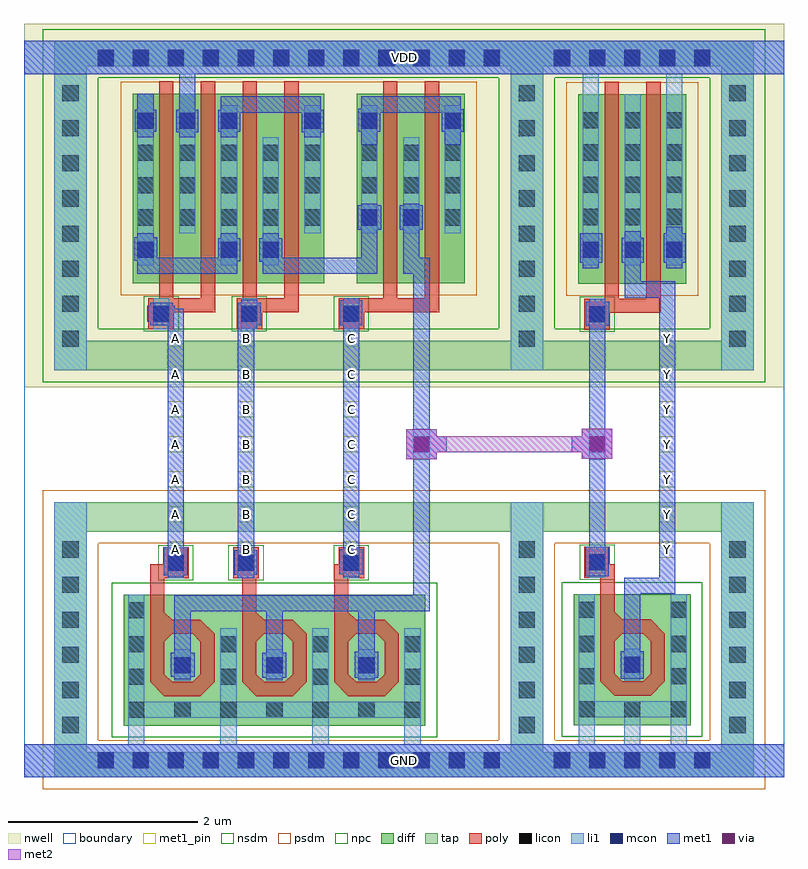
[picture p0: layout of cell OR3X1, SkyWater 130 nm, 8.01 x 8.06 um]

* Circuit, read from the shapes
.subckt OR3X1 A B C GND VDD Y
XM1 GND A n1 GND sky130_fd_pr__nfet_01v8 w=2.56 l=0.1459
XM2 GND B n1 GND sky130_fd_pr__nfet_01v8 w=2.56 l=0.1483
XM3 GND C n1 GND sky130_fd_pr__nfet_01v8 w=2.56 l=0.1456
XM4 GND n1 Y GND sky130_fd_pr__nfet_01v8 w=2.56 l=0.1514
XM5 VDD A n2 VDD sky130_fd_pr__pfet_01v8 w=2 l=0.15 m=2
XM6 n3 B n2 VDD sky130_fd_pr__pfet_01v8 w=2 l=0.15 m=2
XM7 n1 C n3 VDD sky130_fd_pr__pfet_01v8 w=2 l=0.15 m=2
XM8 Y n1 VDD VDD sky130_fd_pr__pfet_01v8 w=2 l=0.15 m=2
.ends

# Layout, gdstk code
from math import pi, radians
import gdstk
lib = gdstk.Library(unit=1e-6, precision=1e-09)
def R(c, l, rs):  # rectangles x0, y0, x1, y1
    for r in rs: c.add(gdstk.rectangle(r[:2], r[2:], *l))
def A(c, l, x, y, w, h, nx, ny, dx, dy):  # array of equal rectangles
    R(c, l, [(x+i*dx, y+j*dy, x+i*dx+w, y+j*dy+h) for i in range(nx) for j in range(ny)])
def P(c, l, *ps):  # polygons
    for p in ps: c.add(gdstk.Polygon(p, *l))
nwell = (64, 20)
diff = (65, 20)
tap = (65, 44)
poly = (66, 20)
licon = (66, 44)
li1 = (67, 20)
mcon = (67, 44)
met1_pin = (68, 16)
met1 = (68, 20)
via = (68, 44)
met2 = (69, 20)
nsdm = (93, 44)
psdm = (94, 20)
npc = (95, 20)
boundary = (235, 4)

diff_ring_side = lib.new_cell('diff_ring_side')
R(diff_ring_side, nwell, [(-0.435,3.93,0.435,7.75)])
R(diff_ring_side, tap, [(-0.17,-0.17,0.17,2.72), (-0.17,4.11,0.17,7.57)])
A(diff_ring_side, licon, -0.085, 0.285, 0.17, 0.17, 1, 6, 0, 0.37)
A(diff_ring_side, licon, -0.085, 4.355, 0.17, 0.17, 1, 8, 0, 0.37)
R(diff_ring_side, li1, [(-0.17,-0.17,0.17,2.72), (-0.17,4.11,0.17,7.57)])
R(diff_ring_side, met1, [(-0.17,-0.17,0.17,0.17), (-0.17,7.23,0.17,7.57)])
R(diff_ring_side, nsdm, [(-0.295,3.985,0.295,7.695)])
R(diff_ring_side, psdm, [(-0.295,-0.295,0.295,2.845)])

nmos_top_trim1 = lib.new_cell('nmos_top_trim1')
R(nmos_top_trim1, diff, [(0,0,1.24,1.38)])
R(nmos_top_trim1, poly, [(0.43,0.31,0.81,0.46), (0.28,0.46,0.43,0.965), (0.81,0.46,0.96,0.965), (0.43,0.965,0.96,1.115), (0.81,1.115,0.96,1.545)])
P(nmos_top_trim1, poly, [(0.73,1.115),(0.81,1.115),(0.81,1.195)],
  [(0.28,0.965),(0.43,0.965),(0.43,1.115)],
  [(0.43,0.885),(0.43,0.965),(0.51,0.965)],
  [(0.73,0.965),(0.81,0.965),(0.81,0.885)],
  [(0.43,0.54),(0.43,0.46),(0.51,0.46)],
  [(0.73,0.46),(0.81,0.46),(0.81,0.54)],
  [(0.28,0.46),(0.43,0.46),(0.43,0.31)],
  [(0.81,0.31),(0.81,0.46),(0.96,0.46)])
A(nmos_top_trim1, licon, 0.05, 0.08, 0.17, 0.17, 3, 1, 0.485, 0)
R(nmos_top_trim1, licon, [(0.05,0.43,0.22,0.6), (1.02,0.43,1.19,0.6), (0.535,0.55,0.705,0.72), (0.05,0.77,0.22,0.94), (1.02,0.77,1.19,0.94), (1.02,1.13,1.19,1.3)])
R(nmos_top_trim1, li1, [(0.05,0,0.22,0.08), (1.02,0,1.19,0.08), (0.05,0.08,1.19,0.25), (0.05,0.25,0.22,1.02), (1.02,0.25,1.19,1.38), (0.535,0.47,0.705,0.805)])
R(nmos_top_trim1, nsdm, [(-0.125,-0.125,1.365,1.505)])

pmos2_1 = lib.new_cell('pmos2_1')
R(pmos2_1, nwell, [(0.26,-2.175,1.76,0.185)])
R(pmos2_1, diff, [(0.44,-1.995,1.58,0.005)])
R(pmos2_1, poly, [(0.72,-2.3,1.31,-2.15), (0.72,-2.15,0.87,0.135), (1.16,-2.15,1.31,0.135)])
A(pmos2_1, licon, 0.49, -1.385, 0.17, 0.17, 3, 3, 0.44, 0.34)
A(pmos2_1, li1, 0.49, -1.465, 0.17, 1.01, 3, 1, 0.44, 0)
R(pmos2_1, psdm, [(0.315,-2.12,1.705,0.13)])

poly_li1_contact = lib.new_cell('poly_li1_contact')
R(poly_li1_contact, poly, [(-0.16,-0.14,0.17,0.13)])
R(poly_li1_contact, licon, [(-0.08,-0.09,0.09,0.08)])
R(poly_li1_contact, li1, [(-0.16,-0.09,0.17,0.08)])
R(poly_li1_contact, npc, [(-0.18,-0.19,0.19,0.18)])

nmos_top_trim2 = lib.new_cell('nmos_top_trim2')
R(nmos_top_trim2, diff, [(0,0,1.24,1.38)])
R(nmos_top_trim2, poly, [(0.43,0.31,0.81,0.46), (0.28,0.46,0.43,0.89), (0.81,0.46,0.96,0.89), (0.28,0.89,0.435,0.965), (0.805,0.89,0.96,0.965), (0.43,0.965,0.96,1.115), (0.81,1.115,0.96,1.545)])
P(nmos_top_trim2, poly, [(0.73,1.115),(0.81,1.115),(0.81,1.195)],
  [(0.28,0.965),(0.43,0.965),(0.43,1.115)],
  [(0.435,0.89),(0.435,0.965),(0.51,0.965)],
  [(0.73,0.965),(0.805,0.965),(0.805,0.89)],
  [(0.43,0.54),(0.43,0.46),(0.51,0.46)],
  [(0.73,0.46),(0.81,0.46),(0.81,0.54)],
  [(0.28,0.46),(0.43,0.46),(0.43,0.31)],
  [(0.81,0.31),(0.81,0.46),(0.96,0.46)])
A(nmos_top_trim2, licon, 0.05, 0.08, 0.17, 0.17, 3, 1, 0.485, 0)
R(nmos_top_trim2, licon, [(0.05,0.43,0.22,0.6), (1.02,0.43,1.19,0.6), (0.535,0.55,0.705,0.72), (0.05,0.77,0.22,0.94), (1.02,0.77,1.19,0.94)])
R(nmos_top_trim2, li1, [(0.05,0,0.22,0.08), (1.02,0,1.19,0.08), (0.05,0.08,1.19,0.25), (0.05,0.25,0.22,1.025), (1.02,0.25,1.19,1.025), (0.535,0.47,0.705,0.805)])
R(nmos_top_trim2, nsdm, [(-0.125,-0.125,1.365,1.505)])

nor3x1_pcell = lib.new_cell('nor3x1_pcell')
R(nor3x1_pcell, nwell, [(0.435,3.93,4.765,7.75)])
A(nor3x1_pcell, diff, 0.705, 6.655, 0.17, 0.17, 3, 1, 0.44, 0)
R(nor3x1_pcell, diff, [(0.705,5.295,0.875,5.465), (1.585,5.295,1.755,5.465), (2.025,5.295,2.195,5.465), (2.465,6.655,2.635,6.825), (3.065,6.655,3.235,6.825), (3.945,6.655,4.115,6.825)])
R(nor3x1_pcell, tap, [(0.17,-0.17,4.64,0.085), (0.17,2.41,4.64,2.72), (0.17,4.11,4.64,4.42), (0.17,7.315,4.64,7.57)])
R(nor3x1_pcell, poly, [(0.84,1.875,0.99,2.065), (1.81,1.91,1.96,1.915), (2.78,1.91,2.93,2.065), (3.095,4.72,3.295,4.87)])
A(nor3x1_pcell, licon, 0.285, -0.085, 0.17, 0.17, 12, 2, 0.37, 7.4)
A(nor3x1_pcell, licon, 0.705, 6.655, 0.17, 0.17, 3, 1, 0.44, 0)
R(nor3x1_pcell, licon, [(0.705,5.295,0.875,5.465), (1.585,5.295,1.755,5.465), (2.025,5.295,2.195,5.465), (2.465,6.655,2.635,6.825), (3.065,6.655,3.235,6.825), (3.945,6.655,4.115,6.825)])
A(nor3x1_pcell, li1, 1.095, 0.915, 0.17, 0.17, 3, 1, 0.97, 0)
R(nor3x1_pcell, li1, [(-0.17,-0.17,4.655,0.17), (0.61,0.17,0.78,0.445), (1.58,0.17,1.75,0.445), (2.55,0.17,2.72,0.45), (3.52,0.17,3.69,0.45), (1.025,1.995,1.195,2.165), (1.765,1.995,1.935,2.165), (2.875,1.995,3.045,2.165), (0.87,4.62,1.04,4.79), (1.8,4.62,1.97,4.79), (2.875,4.62,3.045,4.79), (0.705,5.215,0.875,5.975), (1.585,5.215,1.755,5.975), (2.025,5.215,2.195,5.975), (3.065,5.635,3.235,5.805), (3.505,5.635,3.675,5.805), (1.145,6.145,1.315,7.025), (1.585,6.145,1.755,6.905), (2.465,6.145,2.635,6.905), (3.065,6.145,3.235,6.905), (3.945,6.145,4.115,6.905), (0.705,6.525,0.875,7.025), (-0.12,7.23,4.695,7.57)])
A(nor3x1_pcell, mcon, 0.285, -0.085, 0.17, 0.17, 12, 2, 0.37, 7.4)
A(nor3x1_pcell, mcon, 1.095, 0.915, 0.17, 0.17, 3, 1, 0.97, 0)
A(nor3x1_pcell, mcon, 0.705, 6.655, 0.17, 0.17, 3, 1, 0.44, 0)
R(nor3x1_pcell, mcon, [(1.025,1.995,1.195,2.165), (1.765,1.995,1.935,2.165), (2.875,1.995,3.045,2.165), (0.87,4.62,1.04,4.79), (1.8,4.62,1.97,4.79), (2.875,4.62,3.045,4.79), (0.705,5.295,0.875,5.465), (1.585,5.295,1.755,5.465), (2.025,5.295,2.195,5.465), (3.065,5.635,3.235,5.805), (3.505,5.635,3.675,5.805), (2.465,6.655,2.635,6.825), (3.065,6.655,3.235,6.825), (3.945,6.655,4.115,6.825)])
R(nor3x1_pcell, met1, [(0.17,-0.17,4.64,0.17), (1.095,0.855,1.265,0.88), (2.065,0.855,2.235,0.87), (3.035,0.855,3.205,0.87), (2.02,0.87,2.275,1.13), (2.995,0.87,3.245,1.145), (1.055,0.88,1.31,1.13), (1.095,1.13,1.265,1.57), (2.065,1.13,2.235,1.57), (3.035,1.145,3.205,1.57), (1.095,1.57,3.785,1.74), (3.615,1.74,3.785,5.125), (1.765,1.915,1.935,1.955), (1.025,1.935,1.195,1.95), (2.875,1.935,3.045,1.96), (0.985,1.95,1.235,2.245), (1.725,1.955,1.97,2.21), (2.835,1.96,3.08,2.225), (1.765,2.21,1.935,4.56), (2.875,2.225,3.045,4.585), (1.025,2.245,1.195,4.585), (1.765,4.56,1.97,4.585), (0.84,4.585,1.195,4.62), (1.765,4.585,2.005,4.82), (2.845,4.585,3.075,4.845), (0.81,4.62,1.195,4.76), (0.81,4.76,1.1,4.79), (0.84,4.79,1.08,4.82), (1.8,4.82,1.97,4.85), (2.875,4.845,3.045,4.87), (0.705,5.125,1.755,5.26), (2.025,5.125,3.235,5.255), (3.505,5.125,3.785,5.295), (1.99,5.255,3.235,5.295), (0.705,5.26,1.79,5.265), (0.67,5.265,1.79,5.295), (0.67,5.295,0.915,5.51), (1.555,5.295,1.79,5.5), (1.99,5.295,2.23,5.5), (3.065,5.295,3.235,5.59), (3.505,5.295,3.675,5.59), (1.585,5.5,1.755,5.555), (2.025,5.5,2.195,5.555), (0.705,5.51,0.875,5.555), (3.03,5.59,3.275,5.85), (3.47,5.59,3.715,5.85), (3.065,5.85,3.235,5.865), (3.505,5.85,3.675,5.865), (3.065,6.485,3.235,6.625), (3.945,6.485,4.115,6.625), (0.705,6.565,0.875,6.625), (1.145,6.565,1.315,6.62), (1.585,6.565,1.755,6.625), (2.465,6.565,2.635,6.62), (1.115,6.62,1.345,6.855), (2.435,6.62,2.67,6.825), (0.675,6.625,0.905,6.855), (1.555,6.625,1.79,6.825), (3.035,6.625,3.265,6.825), (3.915,6.625,4.145,6.825), (1.555,6.825,2.67,6.855), (3.035,6.825,4.145,6.86), (0.705,6.855,0.875,7.025), (1.145,6.855,1.315,7.23), (1.585,6.855,2.635,6.995), (3.035,6.86,4.115,6.865), (3.065,6.865,4.115,6.995), (0.17,7.23,4.64,7.57)])
R(nor3x1_pcell, nsdm, [(0.045,3.985,4.765,4.545), (0.045,7.19,4.765,7.695)])
R(nor3x1_pcell, psdm, [(0.045,-0.295,4.765,0.21), (0.045,2.285,4.765,2.845), (2.8,4.9,2.89,6.53), (0.58,5.17,1,5.59), (1.46,5.17,2.32,5.59), (0.58,6.53,1.88,6.95), (2.34,6.53,3.36,6.95), (3.82,6.53,4.24,6.95), (2.8,6.95,2.89,7.15)])
nor3x1_pcell.add(gdstk.Reference(diff_ring_side, (0,0)))
nor3x1_pcell.add(gdstk.Reference(nmos_top_trim1, (1.8,0.365), rotation=pi, x_reflection=True))
nor3x1_pcell.add(gdstk.Reference(pmos2_1, (0.215,7.02)))
nor3x1_pcell.add(gdstk.Reference(poly_li1_contact, (0.96,4.71), rotation=3*pi/2))
nor3x1_pcell.add(gdstk.Reference(poly_li1_contact, (1.115,2.085), rotation=3*pi/2))
nor3x1_pcell.add(gdstk.Reference(nmos_top_trim2, (2.77,0.365), rotation=pi, x_reflection=True))
nor3x1_pcell.add(gdstk.Reference(nmos_top_trim2, (3.74,0.365), rotation=pi, x_reflection=True))
nor3x1_pcell.add(gdstk.Reference(pmos2_1, (1.095,7.02)))
nor3x1_pcell.add(gdstk.Reference(poly_li1_contact, (1.845,2.075), rotation=pi/2))
nor3x1_pcell.add(gdstk.Reference(poly_li1_contact, (1.89,4.71), rotation=3*pi/2))
nor3x1_pcell.add(gdstk.Reference(pmos2_1, (2.575,7.02)))
nor3x1_pcell.add(gdstk.Reference(poly_li1_contact, (2.955,2.075), rotation=pi/2))
nor3x1_pcell.add(gdstk.Reference(poly_li1_contact, (2.965,4.71), rotation=3*pi/2))
nor3x1_pcell.add(gdstk.Reference(diff_ring_side, (4.81,0)))

li1_m1_contact = lib.new_cell('li1_M1_contact')
R(li1_m1_contact, li1, [(-0.085,-0.165,0.085,0.165)])
R(li1_m1_contact, mcon, [(-0.085,-0.085,0.085,0.085)])
R(li1_m1_contact, met1, [(-0.115,-0.115,0.115,-0.085), (-0.265,-0.085,0.145,0.085), (-0.115,0.085,0.115,0.115)])

pmos2 = lib.new_cell('pmos2')
R(pmos2, nwell, [(0.26,-2.18,1.76,0.18)])
R(pmos2, diff, [(0.44,-2,1.58,0)])
R(pmos2, poly, [(0.72,-2.305,1.31,-2.155), (0.72,-2.155,0.87,0.13), (1.16,-2.155,1.31,0.13)])
A(pmos2, licon, 0.49, -1.38, 0.17, 0.17, 3, 4, 0.44, 0.34)
R(pmos2, li1, [(0.49,-1.465,0.66,0.21), (0.93,-1.465,1.1,0), (1.37,-1.465,1.54,0.21)])
R(pmos2, psdm, [(0.315,-2.125,1.705,0.125)])

nmos_top = lib.new_cell('nmos_top')
R(nmos_top, diff, [(0,0,1.23,1.38)])
R(nmos_top, poly, [(0.42,0.31,0.8,0.46), (0.27,0.46,0.42,0.965), (0.8,0.46,0.95,0.965), (0.42,0.965,0.95,1.115), (0.8,1.115,0.95,1.54)])
P(nmos_top, poly, [(0.72,1.115),(0.8,1.115),(0.8,1.195)],
  [(0.27,0.965),(0.42,0.965),(0.42,1.115)],
  [(0.42,0.885),(0.42,0.965),(0.5,0.965)],
  [(0.72,0.965),(0.8,0.965),(0.8,0.885)],
  [(0.42,0.54),(0.42,0.46),(0.5,0.46)],
  [(0.72,0.46),(0.8,0.46),(0.8,0.54)],
  [(0.27,0.46),(0.42,0.46),(0.42,0.31)],
  [(0.8,0.31),(0.8,0.46),(0.95,0.46)])
R(nmos_top, licon, [(0.04,0.08,0.21,0.25), (0.53,0.08,0.7,0.25), (1.01,0.08,1.18,0.25), (0.04,0.43,0.21,0.6), (1.01,0.43,1.18,0.6), (0.53,0.55,0.7,0.72), (0.04,0.77,0.21,0.94), (1.01,0.77,1.18,0.94), (0.04,1.13,0.21,1.3), (1.01,1.13,1.18,1.3)])
R(nmos_top, li1, [(0.04,0,0.21,0.08), (1.01,0,1.18,0.08), (0.04,0.08,1.18,0.25), (0.04,0.25,0.21,1.38), (1.01,0.25,1.18,1.38), (0.53,0.47,0.7,0.805)])
R(nmos_top, nsdm, [(-0.125,-0.125,1.355,1.505)])

invx1_pcell = lib.new_cell('invx1_pcell')
R(invx1_pcell, nwell, [(-0.435,3.93,2.655,7.75)])
A(invx1_pcell, diff, 0.59, 5.295, 0.17, 0.17, 3, 1, 0.44, 0)
R(invx1_pcell, tap, [(0.17,-0.17,2.05,0.085), (0.17,2.41,2.05,2.72), (0.17,4.11,2.05,4.42), (0.17,7.315,2.05,7.57)])
R(invx1_pcell, poly, [(0.775,1.905,0.925,2.065)])
A(invx1_pcell, licon, 0.285, -0.085, 0.17, 0.17, 5, 2, 0.37, 7.4)
A(invx1_pcell, licon, 0.59, 5.295, 0.17, 0.17, 3, 1, 0.44, 0)
A(invx1_pcell, li1, 0.59, 5.215, 0.17, 0.37, 3, 1, 0.44, 0)
R(invx1_pcell, li1, [(-0.17,-0.17,2.33,0.17), (0.545,0.17,0.715,0.42), (1.025,0.17,1.195,0.45), (1.515,0.17,1.685,0.45), (1.025,0.92,1.195,1.09), (0.655,2,0.825,2.17), (0.655,4.615,0.825,4.785), (-0.17,7.23,2.39,7.57)])
A(invx1_pcell, mcon, 0.285, -0.085, 0.17, 0.17, 5, 2, 0.37, 7.4)
A(invx1_pcell, mcon, 0.59, 5.295, 0.17, 0.17, 3, 1, 0.44, 0)
R(invx1_pcell, mcon, [(1.025,0.92,1.195,1.09), (0.655,2,0.825,2.17), (0.655,4.615,0.825,4.785)])
R(invx1_pcell, met1, [(-0.17,-0.17,2.39,0.17), (0.99,0.86,1.23,1.15), (1.025,1.15,1.195,1.755), (1.025,1.755,1.565,1.925), (1.395,1.925,1.565,4.875), (0.615,1.94,0.865,2.25), (0.655,2.25,0.825,4.58), (0.62,4.58,0.87,4.83), (0.655,4.83,0.825,4.865), (1.03,4.875,1.565,5.045), (1.03,5.045,1.2,5.24), (0.59,5.185,0.76,5.24), (1.47,5.185,1.64,5.24), (0.56,5.24,0.795,5.555), (1,5.24,1.23,5.505), (1.44,5.24,1.675,5.555), (1.03,5.505,1.2,5.575), (1.47,5.555,1.64,5.62), (-0.17,7.23,2.39,7.57)])
R(invx1_pcell, nsdm, [(0.045,3.985,2.175,4.545), (0.045,7.19,2.175,7.695)])
R(invx1_pcell, psdm, [(0.045,-0.295,2.175,0.21), (0.045,2.285,2.175,2.845), (0.465,5.17,1.765,5.59)])
invx1_pcell.add(gdstk.Reference(poly_li1_contact, (0.735,2.08), rotation=pi/2))
invx1_pcell.add(gdstk.Reference(poly_li1_contact, (0.745,4.705), rotation=3*pi/2))
invx1_pcell.add(gdstk.Reference(pmos2, (0.1,7.02)))
invx1_pcell.add(gdstk.Reference(nmos_top, (1.725,0.37), rotation=pi, x_reflection=True))
invx1_pcell.add(gdstk.Reference(diff_ring_side, (0,0)))
invx1_pcell.add(gdstk.Reference(diff_ring_side, (2.22,0)))

or3x1_pcell = lib.new_cell('or3x1_pcell')
R(or3x1_pcell, met1, [(2.06,3.17,2.38,3.49), (3.91,3.175,4.23,3.495)])
R(or3x1_pcell, via, [(2.145,3.255,2.295,3.405), (3.995,3.26,4.145,3.41)])
R(or3x1_pcell, met2, [(2.06,3.17,2.38,3.245), (3.91,3.175,4.23,3.245), (2.06,3.245,4.23,3.415), (2.06,3.415,2.38,3.49), (3.91,3.415,4.23,3.495)])
or3x1_pcell.add(gdstk.Reference(nor3x1_pcell, (-1.48,0)))
or3x1_pcell.add(gdstk.Reference(li1_m1_contact, (4.07,3.33)))
or3x1_pcell.add(gdstk.Reference(li1_m1_contact, (2.22,3.33), rotation=pi))
or3x1_pcell.add(gdstk.Reference(invx1_pcell, (3.33,0)))

or3x1 = lib.new_cell('OR3X1')
R(or3x1, nwell, [(0,4.11,8.01,7.94)])
R(or3x1, tap, [(0.32,0,7.69,0.115), (0.32,7.75,7.69,7.76)])
R(or3x1, li1, [(0,0,8.01,0.35), (0,7.41,8.01,7.76)])
A(or3x1, met1_pin, 1.515, 2.315, 0.17, 0.17, 1, 7, 0, 0.37)
A(or3x1, met1_pin, 2.255, 2.315, 0.17, 0.17, 1, 7, 0, 0.37)
A(or3x1, met1_pin, 3.365, 2.315, 0.17, 0.17, 1, 7, 0, 0.37)
A(or3x1, met1_pin, 6.695, 2.315, 0.17, 0.17, 1, 7, 0, 0.37)
R(or3x1, met1_pin, [(0,0,8.01,0.35), (0,7.41,8.01,7.76)])
A(or3x1, met1, 1.515, 2.315, 0.17, 0.17, 1, 7, 0, 0.37)
A(or3x1, met1, 2.255, 2.315, 0.17, 0.17, 1, 7, 0, 0.37)
A(or3x1, met1, 3.365, 2.315, 0.17, 0.17, 1, 7, 0, 0.37)
A(or3x1, met1, 6.695, 2.315, 0.17, 0.17, 1, 7, 0, 0.37)
R(or3x1, met1, [(0,0,8.01,0.35), (0,7.41,8.01,7.76)])
R(or3x1, nsdm, [(0.195,7.625,7.815,7.885)])
R(or3x1, psdm, [(0.195,-0.125,7.815,0.24)])
R(or3x1, boundary, [(0,0,8.01,7.76)])
or3x1.add(gdstk.Reference(or3x1_pcell, (1.97,0.18)))
or3x1.add(gdstk.Label('Y', (6.78,4.62), layer=68, texttype=5))
or3x1.add(gdstk.Label('Y', (6.78,4.25), layer=68, texttype=5))
or3x1.add(gdstk.Label('Y', (6.78,3.88), layer=68, texttype=5))
or3x1.add(gdstk.Label('Y', (6.78,3.51), layer=68, texttype=5))
or3x1.add(gdstk.Label('Y', (6.78,3.14), layer=68, texttype=5))
or3x1.add(gdstk.Label('Y', (6.78,2.77), layer=68, texttype=5))
or3x1.add(gdstk.Label('Y', (6.78,2.4), layer=68, texttype=5))
or3x1.add(gdstk.Label('A', (1.6,2.4), layer=68, texttype=5))
or3x1.add(gdstk.Label('A', (1.6,2.77), layer=68, texttype=5))
or3x1.add(gdstk.Label('A', (1.6,3.14), layer=68, texttype=5))
or3x1.add(gdstk.Label('A', (1.6,3.51), layer=68, texttype=5))
or3x1.add(gdstk.Label('A', (1.6,3.88), layer=68, texttype=5))
or3x1.add(gdstk.Label('A', (1.6,4.25), layer=68, texttype=5))
or3x1.add(gdstk.Label('A', (1.6,4.62), layer=68, texttype=5))
or3x1.add(gdstk.Label('B', (2.34,2.4), layer=68, texttype=5))
or3x1.add(gdstk.Label('B', (2.34,2.77), layer=68, texttype=5))
or3x1.add(gdstk.Label('B', (2.34,3.14), layer=68, texttype=5))
or3x1.add(gdstk.Label('B', (2.34,3.51), layer=68, texttype=5))
or3x1.add(gdstk.Label('B', (2.34,3.88), layer=68, texttype=5))
or3x1.add(gdstk.Label('B', (2.34,4.25), layer=68, texttype=5))
or3x1.add(gdstk.Label('B', (2.34,4.62), layer=68, texttype=5))
or3x1.add(gdstk.Label('C', (3.45,2.4), layer=68, texttype=5))
or3x1.add(gdstk.Label('C', (3.45,2.77), layer=68, texttype=5))
or3x1.add(gdstk.Label('C', (3.45,3.14), layer=68, texttype=5))
or3x1.add(gdstk.Label('C', (3.45,3.51), layer=68, texttype=5))
or3x1.add(gdstk.Label('C', (3.45,3.88), layer=68, texttype=5))
or3x1.add(gdstk.Label('C', (3.45,4.25), layer=68, texttype=5))
or3x1.add(gdstk.Label('C', (3.45,4.62), layer=68, texttype=5))
or3x1.add(gdstk.Label('VDD', (4.005,7.585), layer=68, texttype=5))
or3x1.add(gdstk.Label('GND', (4.005,0.175), layer=68, texttype=5))

lib.write_gds('OR3X1.gds')
